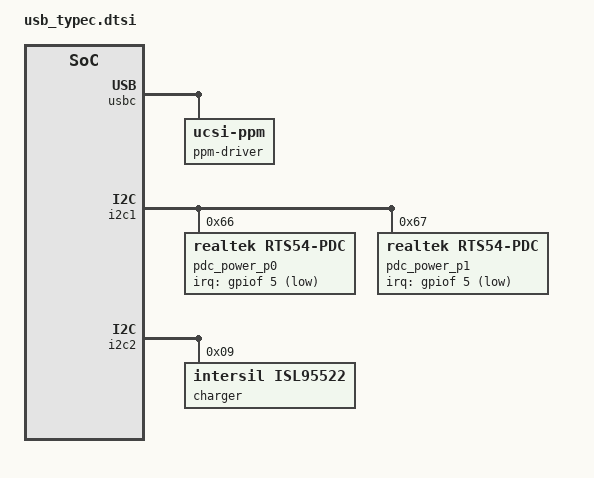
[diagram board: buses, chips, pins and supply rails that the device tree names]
/*
 * Copyright 2025 The ChromiumOS Authors
 *
 * SPDX-License-Identifier: Apache-2.0
 */
#include <usbc-policy.dtsi>

 /{
	usbc {
		#address-cells = <1>;
		#size-cells = <0>;
		usbc_port0: port0@0 {
			compatible = "named-usbc-port";
			reg = <0>;
			chg = <&charger>;
			pdc = <&pdc_power_p0>;
			pd-retimer;
			policy = <&cros_policy>;
			zephyr,deferred-init;
		};
		usbc_port1: port1@1 {
			compatible = "named-usbc-port";
			reg = <1>;
			pdc = <&pdc_power_p1>;
			pd-retimer;
			policy = <&cros_policy>;
			zephyr,deferred-init;
		};
		ppm-driver {
			compatible = "ucsi-ppm";
		};
	};
};

&i2c1 {
	pdc_power_p0: rts54-pdc@66 {
		compatible = "realtek,rts54-pdc";
		reg = <0x66>;
		irq-gpios = <&gpiof 5 GPIO_ACTIVE_LOW>;
		zephyr,deferred-init;
		ccd;
	};
	pdc_power_p1: rts54-pdc@67 {
		compatible = "realtek,rts54-pdc";
		reg = <0x67>;
		irq-gpios = <&gpiof 5 GPIO_ACTIVE_LOW>;
		zephyr,deferred-init;
		no-fw-update;
	};
};

&i2c2 {
	charger: isl95522@9 {
		compatible = "intersil,isl95522";
		status = "okay";
		reg = <0x9>;
		minimum-charging-mv = <15000>;
	};
};
